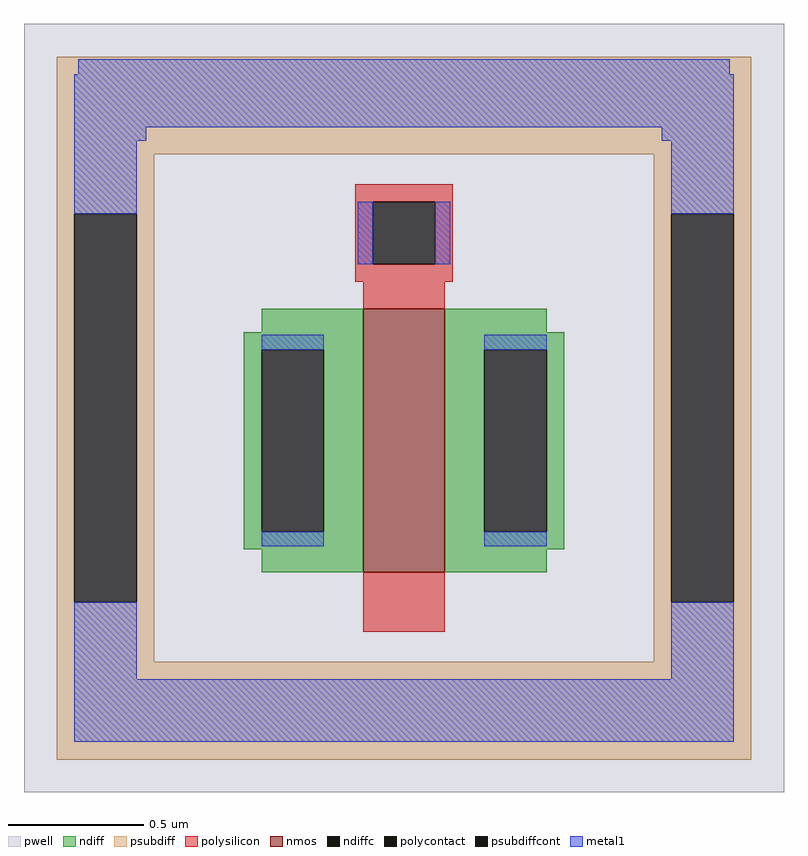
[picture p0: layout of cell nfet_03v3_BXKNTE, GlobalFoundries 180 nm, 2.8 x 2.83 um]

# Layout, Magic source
magic
tech gf180mcuD
magscale 1 10
<< pwell >>
rect -280 -283 280 283
<< nmos >>
rect -30 -121 30 73
<< ndiff >>
rect -105 56 -30 73
rect -118 43 -30 56
rect -118 -91 -105 43
rect -59 -91 -30 43
rect -118 -104 -30 -91
rect -105 -121 -30 -104
rect 30 56 105 73
rect 30 43 118 56
rect 30 -91 59 43
rect 105 -91 118 43
rect 30 -104 118 -91
rect 30 -121 105 -104
<< ndiffc >>
rect -105 -91 -59 43
rect 59 -91 105 43
<< psubdiff >>
rect -256 187 256 259
rect -256 143 -184 187
rect -256 -143 -243 143
rect -197 -143 -184 143
rect 184 143 256 187
rect -256 -187 -184 -143
rect 184 -143 197 143
rect 243 -143 256 143
rect 184 -187 256 -143
rect -256 -259 256 -187
<< psubdiffcont >>
rect -243 -143 -197 143
rect 197 -143 243 143
<< polysilicon >>
rect -36 152 36 165
rect -36 106 -23 152
rect 23 106 36 152
rect -36 93 36 106
rect -30 73 30 93
rect -30 -165 30 -121
<< polycontact >>
rect -23 106 23 152
<< metal1 >>
rect -240 246 240 257
rect -243 207 243 246
rect -243 197 -190 207
rect 190 197 243 207
rect -243 143 -197 197
rect -34 106 -23 152
rect 23 106 34 152
rect 197 143 243 197
rect -105 43 -59 54
rect -105 -102 -59 -91
rect 59 43 105 54
rect 59 -102 105 -91
rect -243 -200 -197 -143
rect 197 -200 243 -143
rect -243 -246 243 -200
<< properties >>
string FIXED_BBOX -220 -223 220 223
string gencell nfet_03v3
string library gf180mcu
string parameters w 0.97 l 0.3 m 1 nf 1 diffcov 80 polycov 100 guard 1 glc 1 grc 1 gtc 0 gbc 0 tbcov 100 rlcov 100 topc 1 botc 0 poverlap 0 doverlap 1 lmin 0.28 wmin 0.22 class mosfet full_metal 1 compatible {nfet_03v3 nfet_05v0 nfet_06v0 nfet_06v0_nvt}
<< end >>
